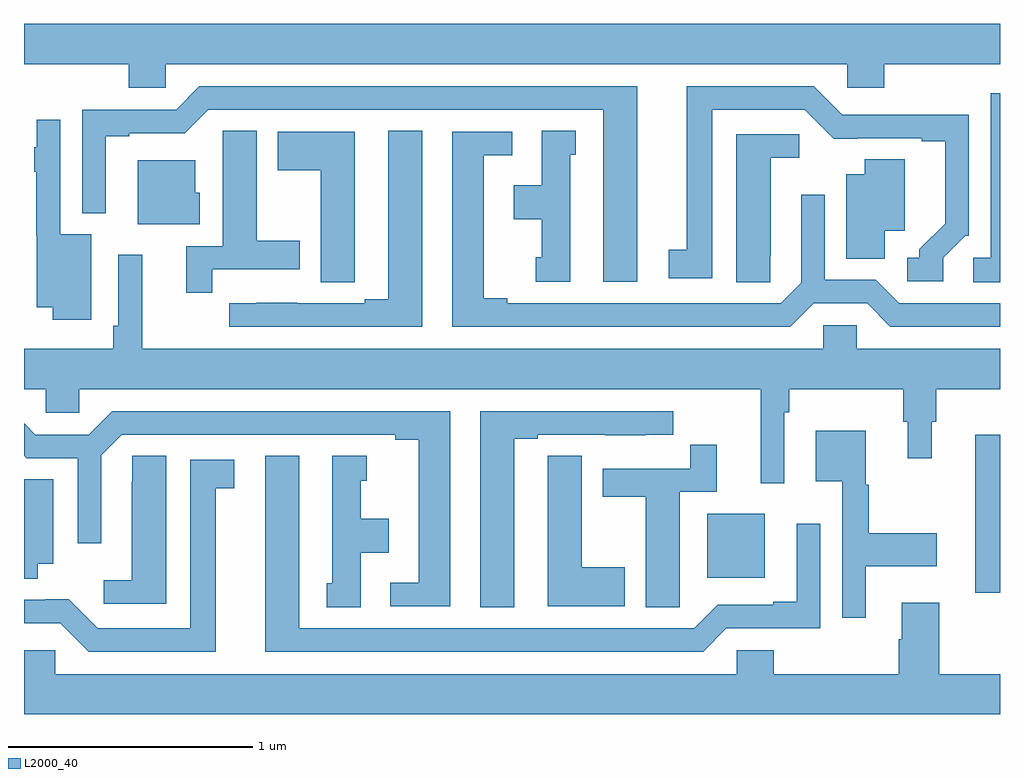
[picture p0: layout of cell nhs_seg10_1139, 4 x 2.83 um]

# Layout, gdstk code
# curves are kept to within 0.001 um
import gdstk
lib = gdstk.Library(unit=1e-6, precision=1e-09)
def R(c, l, rs):  # rectangles x0, y0, x1, y1
    for r in rs: c.add(gdstk.rectangle(r[:2], r[2:], *l))
def P(c, l, *ps):  # polygons
    for p in ps: c.add(gdstk.Polygon(p, *l))
L2000_40 = (2000, 40)

nhs_seg10_1139 = lib.new_cell('nhs_seg10_1139')
R(nhs_seg10_1139, L2000_40, [(172.898,1303.476,173,1304.125), (171.8,1303.538,172.036,1303.801)])
P(nhs_seg10_1139, L2000_40, [(169.581,1305.644),(172.374,1305.644),(172.374,1305.546),(172.526,1305.546),(172.526,1305.644),(173,1305.644),(173,1305.808),(169,1305.808),(169,1305.644),(169.43,1305.644),(169.43,1305.546),(169.581,1305.546)],
  [(171.514,1305.552),(169.719,1305.552),(169.623,1305.456),(169.239,1305.456),(169.239,1305.032),(169.336,1305.032),(169.336,1305.348),(169.432,1305.348),(169.432,1305.36),(169.659,1305.36),(169.755,1305.456),(171.374,1305.456),(171.374,1304.751),(171.514,1304.751)],
  [(172.767,1304.85),(172.857,1304.94),(172.872,1304.94),(172.872,1305.437),(172.609,1305.437),(172.609,1305.435),(172.353,1305.435),(172.236,1305.552),(171.716,1305.552),(171.716,1304.882),(171.642,1304.882),(171.642,1304.766),(171.82,1304.766),(171.82,1305.456),(172.2,1305.456),(172.318,1305.338),(172.679,1305.339),(172.679,1305.327),(172.775,1305.327),(172.775,1304.99),(172.67,1304.885),(172.67,1304.85),(172.62,1304.85),(172.62,1304.754),(172.767,1304.754)],
  [(173,1305.525),(172.962,1305.525),(172.962,1304.85),(172.89,1304.85),(172.89,1304.749),(173,1304.749)],
  [(169.276,1304.947),(169.149,1304.947),(169.149,1305.415),(169.052,1305.415),(169.052,1305.302),(169.041,1305.302),(169.041,1305.202),(169.051,1305.202),(169.051,1304.943),(169.052,1304.943),(169.052,1304.648),(169.118,1304.648),(169.118,1304.595),(169.276,1304.595)],
  [(171.238,1305.273),(171.262,1305.273),(171.262,1305.371),(171.122,1305.371),(171.122,1305.148),(171.008,1305.148),(171.008,1305.008),(171.122,1305.008),(171.122,1304.853),(171.098,1304.853),(171.098,1304.751),(171.238,1304.751)],
  [(169.772,1304.802),(170.131,1304.802),(170.131,1304.919),(169.954,1304.919),(169.954,1305.371),(169.815,1305.371),(169.815,1305.26),(169.814,1305.26),(169.814,1304.898),(169.664,1304.898),(169.664,1304.706),(169.772,1304.706)],
  [(170.632,1305.371),(170.492,1305.371),(170.492,1304.679),(170.396,1304.679),(170.396,1304.664),(170.12,1304.664),(170.12,1304.665),(169.954,1304.665),(169.954,1304.664),(169.842,1304.664),(169.842,1304.568),(170.632,1304.568)],
  [(170.355,1304.857),(170.356,1304.857),(170.356,1305.367),(170.039,1305.367),(170.039,1305.208),(170.216,1305.208),(170.216,1304.749),(170.355,1304.749)],
  [(172.237,1304.664),(172.455,1304.664),(172.551,1304.568),(173,1304.568),(173,1304.664),(172.587,1304.664),(172.491,1304.76),(172.281,1304.76),(172.281,1305.109),(172.185,1305.109),(172.185,1304.748),(172.101,1304.664),(170.98,1304.664),(170.98,1304.684),(170.884,1304.684),(170.884,1305.27),(171.001,1305.27),(171.001,1305.366),(170.756,1305.366),(170.756,1304.568),(172.141,1304.568)],
  [(172.059,1304.857),(172.06,1304.857),(172.06,1305.26),(172.177,1305.26),(172.177,1305.357),(171.92,1305.357),(171.92,1304.749),(172.059,1304.749)],
  [(172.528,1304.96),(172.609,1304.96),(172.609,1305.254),(172.445,1305.254),(172.445,1305.193),(172.37,1305.193),(172.37,1304.845),(172.528,1304.845)],
  [(169.72,1305.117),(169.702,1305.117),(169.702,1305.25),(169.466,1305.25),(169.466,1304.987),(169.72,1304.987)],
  [(172.116,1304.216),(172.136,1304.216),(172.136,1304.312),(172.603,1304.312),(172.603,1304.178),(172.622,1304.178),(172.622,1304.028),(172.72,1304.028),(172.72,1304.178),(172.739,1304.178),(172.739,1304.312),(173,1304.312),(173,1304.476),(172.413,1304.476),(172.413,1304.574),(172.275,1304.574),(172.275,1304.476),(169.484,1304.476),(169.484,1304.863),(169.386,1304.863),(169.386,1304.572),(169.366,1304.572),(169.366,1304.476),(169,1304.476),(169,1304.312),(169.089,1304.312),(169.089,1304.214),(169.227,1304.214),(169.227,1304.312),(172.019,1304.312),(172.019,1303.926),(172.116,1303.926)],
  [(171.01,1304.109),(171.106,1304.109),(171.106,1304.124),(171.382,1304.124),(171.382,1304.123),(171.548,1304.123),(171.548,1304.124),(171.661,1304.124),(171.661,1304.22),(170.87,1304.22),(170.87,1303.417),(171.01,1303.417)],
  [(170.746,1304.22),(169.361,1304.22),(169.265,1304.124),(169.047,1304.124),(169,1304.171),(169,1304.039),(169.011,1304.028),(169.221,1304.028),(169.221,1303.68),(169.317,1303.68),(169.317,1304.04),(169.401,1304.124),(170.522,1304.124),(170.522,1304.104),(170.618,1304.104),(170.618,1303.518),(170.502,1303.518),(170.502,1303.422),(170.746,1303.422)],
  [(172.45,1303.586),(172.741,1303.586),(172.741,1303.721),(172.462,1303.721),(172.462,1303.92),(172.45,1303.92),(172.45,1304.14),(172.244,1304.14),(172.244,1303.934),(172.353,1303.934),(172.353,1303.374),(172.45,1303.374)],
  [(171.687,1303.528),(171.688,1303.528),(171.688,1303.89),(171.839,1303.89),(171.839,1304.083),(171.73,1304.083),(171.73,1303.986),(171.371,1303.986),(171.371,1303.87),(171.548,1303.87),(171.548,1303.417),(171.687,1303.417)],
  [(171.463,1303.581),(171.286,1303.581),(171.286,1304.039),(171.147,1304.039),(171.147,1303.931),(171.146,1303.931),(171.146,1303.421),(171.463,1303.421)],
  [(169.582,1304.039),(169.443,1304.039),(169.443,1303.931),(169.442,1303.931),(169.442,1303.528),(169.326,1303.528),(169.326,1303.431),(169.582,1303.431)],
  [(170.38,1303.64),(170.494,1303.64),(170.494,1303.78),(170.38,1303.78),(170.38,1303.935),(170.404,1303.935),(170.404,1304.038),(170.264,1304.038),(170.264,1303.515),(170.24,1303.515),(170.24,1303.417),(170.38,1303.417)],
  [(171.879,1303.332),(172.263,1303.332),(172.263,1303.759),(172.166,1303.759),(172.166,1303.441),(172.07,1303.441),(172.07,1303.428),(171.843,1303.428),(171.747,1303.332),(170.128,1303.332),(170.128,1304.038),(169.988,1304.038),(169.988,1303.236),(171.783,1303.236)],
  [(169.786,1303.906),(169.861,1303.906),(169.861,1304.022),(169.682,1304.022),(169.682,1303.332),(169.302,1303.332),(169.184,1303.45),(169,1303.449),(169,1303.353),(169.149,1303.353),(169.266,1303.236),(169.786,1303.236)],
  [(169.057,1303.595),(169.12,1303.595),(169.12,1303.943),(169,1303.943),(169,1303.534),(169.057,1303.534)],
  [(173,1303.144),(172.751,1303.144),(172.751,1303.435),(172.598,1303.435),(172.598,1303.286),(172.586,1303.286),(172.586,1303.144),(172.073,1303.144),(172.073,1303.242),(171.921,1303.242),(171.921,1303.144),(169.128,1303.144),(169.128,1303.242),(169,1303.242),(169,1302.98),(173,1302.98)])

lib.write_gds('nhs_seg10_1139.gds')
